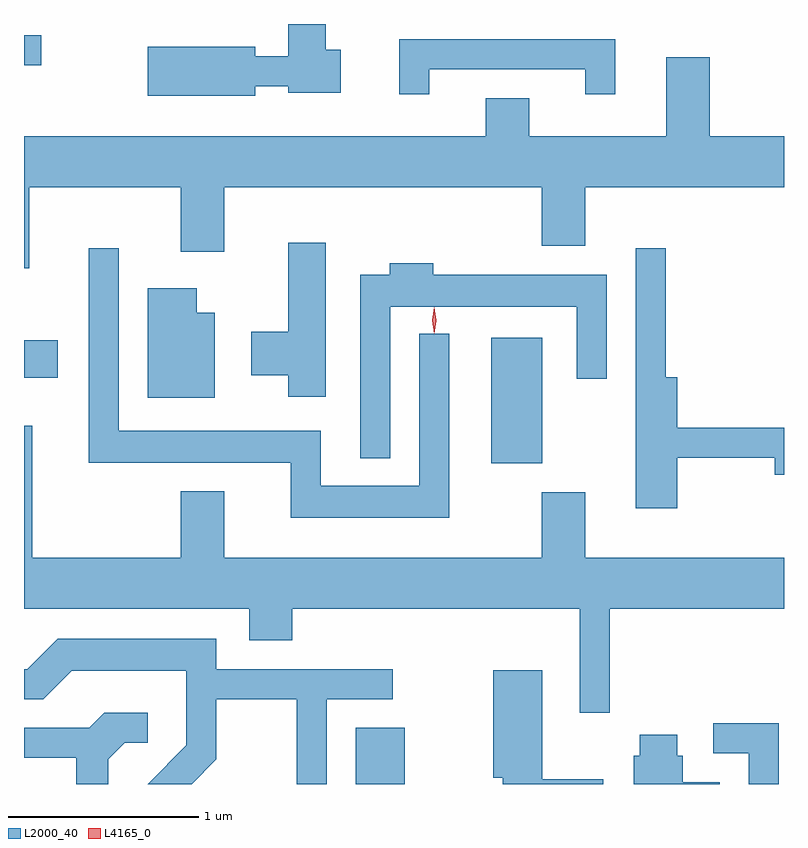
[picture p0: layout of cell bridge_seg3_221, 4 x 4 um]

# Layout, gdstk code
import gdstk
lib = gdstk.Library(unit=1e-6, precision=1e-09)
def R(c, l, rs):  # rectangles x0, y0, x1, y1
    for r in rs: c.add(gdstk.rectangle(r[:2], r[2:], *l))
def P(c, l, *ps):  # polygons
    for p in ps: c.add(gdstk.Polygon(p, *l))
L2000_40 = (2000, 40)
L4165_0 = (4165, 0)

bridge_seg3_221 = lib.new_cell('bridge_seg3_221')
R(bridge_seg3_221, L2000_40, [(920.501,1171.714,920.759,1172.009), (921.216,1173.401,921.484,1174.064), (918.756,1173.851,918.934,1174.049), (918.756,1175.496,918.848,1175.654)])
P(bridge_seg3_221, L2000_40, [(919.974,1175.386),(920.146,1175.386),(920.146,1175.351),(920.424,1175.351),(920.424,1175.579),(920.344,1175.579),(920.344,1175.714),(920.146,1175.714),(920.146,1175.544),(919.974,1175.544),(919.974,1175.594),(919.406,1175.594),(919.406,1175.336),(919.974,1175.336)],
  [(920.889,1175.476),(921.711,1175.476),(921.711,1175.343),(921.869,1175.343),(921.869,1175.634),(920.731,1175.634),(920.731,1175.343),(920.889,1175.343)],
  [(918.784,1174.856),(919.581,1174.856),(919.581,1174.516),(919.809,1174.516),(919.809,1174.856),(921.481,1174.856),(921.481,1174.546),(921.709,1174.546),(921.709,1174.856),(922.756,1174.856),(922.756,1175.124),(922.364,1175.124),(922.364,1175.539),(922.136,1175.539),(922.136,1175.124),(921.414,1175.124),(921.414,1175.324),(921.186,1175.324),(921.186,1175.124),(918.756,1175.124),(918.756,1174.428),(918.784,1174.428)],
  [(920.344,1174.564),(920.146,1174.564),(920.146,1174.094),(919.951,1174.094),(919.951,1173.866),(920.146,1173.866),(920.146,1173.751),(920.344,1173.751)],
  [(920.994,1174.083),(920.836,1174.083),(920.836,1173.284),(920.319,1173.284),(920.319,1173.574),(919.254,1173.574),(919.254,1174.533),(919.096,1174.533),(919.096,1173.406),(920.161,1173.406),(920.161,1173.116),(920.994,1173.116)],
  [(922.194,1173.431),(922.706,1173.431),(922.706,1173.341),(922.756,1173.341),(922.756,1173.589),(922.194,1173.589),(922.194,1173.854),(922.134,1173.854),(922.134,1174.533),(921.976,1174.533),(921.976,1173.166),(922.194,1173.166)],
  [(920.684,1174.226),(921.666,1174.226),(921.666,1173.848),(921.824,1173.848),(921.824,1174.394),(920.909,1174.394),(920.909,1174.454),(920.681,1174.454),(920.681,1174.394),(920.526,1174.394),(920.526,1173.428),(920.684,1173.428)],
  [(919.759,1174.194),(919.664,1174.194),(919.664,1174.324),(919.406,1174.324),(919.406,1173.746),(919.759,1173.746)],
  [(921.839,1172.636),(922.756,1172.636),(922.756,1172.904),(921.709,1172.904),(921.709,1173.249),(921.481,1173.249),(921.481,1172.904),(919.809,1172.904),(919.809,1173.254),(919.581,1173.254),(919.581,1172.904),(918.799,1172.904),(918.799,1173.599),(918.756,1173.599),(918.756,1172.636),(919.941,1172.636),(919.941,1172.471),(920.169,1172.471),(920.169,1172.636),(921.681,1172.636),(921.681,1172.088),(921.839,1172.088)],
  [(919.769,1171.844),(919.769,1172.161),(920.191,1172.161),(920.191,1171.714),(920.349,1171.714),(920.349,1172.161),(920.698,1172.161),(920.698,1172.319),(919.769,1172.319),(919.769,1172.479),(918.934,1172.479),(918.774,1172.319),(918.756,1172.319),(918.756,1172.161),(918.857,1172.161),(919.007,1172.311),(919.611,1172.311),(919.611,1171.917),(919.408,1171.714),(919.639,1171.714)],
  [(921.804,1171.739),(921.484,1171.739),(921.484,1172.314),(921.226,1172.314),(921.226,1171.746),(921.276,1171.746),(921.276,1171.714),(921.804,1171.714)],
  [(919.199,1171.844),(919.287,1171.931),(919.408,1171.931),(919.408,1172.089),(919.179,1172.089),(919.099,1172.009),(918.756,1172.009),(918.756,1171.851),(919.031,1171.851),(919.031,1171.714),(919.199,1171.714)],
  [(922.729,1172.034),(922.383,1172.034),(922.383,1171.876),(922.571,1171.876),(922.571,1171.714),(922.729,1171.714)],
  [(922.419,1171.724),(922.224,1171.724),(922.224,1171.864),(922.194,1171.864),(922.194,1171.974),(921.996,1171.974),(921.996,1171.864),(921.966,1171.864),(921.966,1171.714),(922.419,1171.714)])
P(bridge_seg3_221, L4165_0, [(920.914,1174.084),(920.905,1174.154),(920.915,1174.222),(920.915,1174.223),(920.916,1174.222),(920.925,1174.153),(920.916,1174.084),(920.915,1174.084)],
  [(920.915,1174.087),(920.914,1174.088),(920.905,1174.154),(920.914,1174.22),(920.915,1174.221),(920.916,1174.22),(920.925,1174.154),(920.916,1174.088)])

lib.write_gds('bridge_seg3_221.gds')
